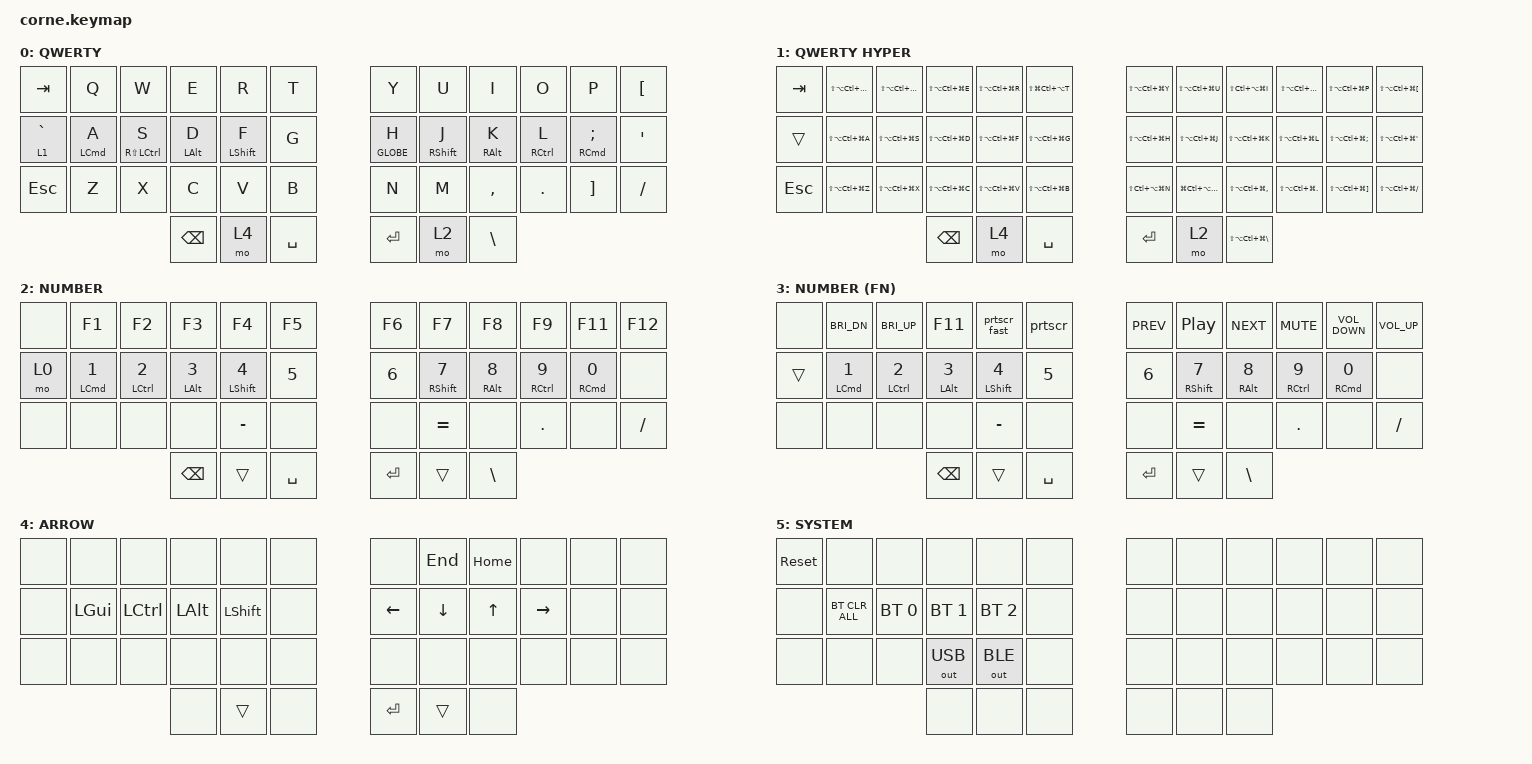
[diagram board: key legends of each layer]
/*
 * Copyright (c) 2020 The ZMK Contributors
 *
 * SPDX-License-Identifier: MIT
 */

#include <behaviors.dtsi>
#include <dt-bindings/zmk/bt.h>
#include <dt-bindings/zmk/keys.h>
#include <dt-bindings/zmk/outputs.h>

/ {
    behaviors {
        hml: homerow_mods_left {
            compatible = "zmk,behavior-hold-tap";
            label = "HOMEROW_MODS_LEFT_HALF";
            bindings = <&kp>, <&kp>;

            #binding-cells = <2>;
            tapping-term-ms = <175>;
            flavor = "balanced";
            hold-trigger-key-positions = <41 30 31 32 33 34 35 23 11 10 22 21 9 6 7 18 19 19 20 8>;
        };

        hmr: homerow7-mods_right {
            compatible = "zmk,behavior-hold-tap";
            label = "HOMEROW_MODS_RIGHT_HALF";
            bindings = <&kp>, <&kp>;

            #binding-cells = <2>;
            tapping-term-ms = <175>;
            hold-trigger-key-positions = <0 1 2 4 5 12 13 14 15 16 17 24 25 26 27 28 29 3>;
            flavor = "balanced";
        };

        hyper_beh: hyper_beh {
            compatible = "zmk,behavior-hold-tap";
            label = "HYPER_BEH";
            bindings = <&mo>, <&kp>;

            #binding-cells = <2>;
            tapping-term-ms = <175>;
            flavor = "balanced";
            hold-trigger-key-positions = <0 1 2 3 4 5 6 7 8 9 10 11 13 14 15 16 17 18 19 20 21 22 23 24 25 26 27 28 29 30 31 32 33 34 35 36 38 39 41>;
        };
    };

    combos {
        compatible = "zmk,combos";

        sys_combo {
            bindings = <&mo 5>;
            key-positions = <40 37>;
        };

        zoom_in {
            bindings = <&kp LS(LG(EQUAL))>;
            key-positions = <13 16 40 31>;
        };

        zoom_out {
            bindings = <&kp LS(LG(MINUS))>;
            key-positions = <40 28 22>;
        };

        next_space {
            bindings = <&kp LC(RIGHT_ARROW)>;
            key-positions = <37 14 21>;
        };

        prev_space {
            bindings = <&kp LC(LEFT_ARROW)>;
            key-positions = <37 14 18>;
        };
    };

    macros {
        prtscr: prtscr {
            compatible = "zmk,behavior-macro";
            #binding-cells = <0>;
            bindings = <&kp LS(LG(NUMBER_4))>;
            label = "PRTSCR";
        };

        prtscr_fast: prtscr_fast {
            compatible = "zmk,behavior-macro";
            #binding-cells = <0>;
            bindings = <&kp LS(LG(NUMBER_3))>;
            label = "PRTSCR_FAST";
        };
    };

    keymap {
        compatible = "zmk,keymap";

        default_layer {
            // -----------------------------------------------------------------------------------------
            // |  TAB |  Q  |  W  |  E  |  R  |  T  |   |  Y  |  U   |  I  |  O  |  P  | BSPC |
            // | CTRL |  A  |  S  |  D  |  F  |  G  |   |  H  |  J   |  K  |  L  |  ;  |  '   |
            // | SHFT |  Z  |  X  |  C  |  V  |  B  |   |  N  |  M   |  ,  |  .  |  /  | ESC  |
            //                    | GUI | LWR | SPC |   | ENT | RSE  | ALT |

            bindings = <
&kp TAB             &kp Q                &kp W                    &kp E          &kp R              &kp T        &kp Y         &kp U               &kp I             &kp O                 &kp P                    &kp LEFT_BRACKET
&hyper_beh 1 GRAVE  &hml LEFT_COMMAND A  &hml RS(LEFT_CONTROL) S  &hml LALT D    &hml LEFT_SHIFT F  &kp G        &hmr GLOBE H  &hmr RIGHT_SHIFT J  &hmr RIGHT_ALT K  &hmr RIGHT_CONTROL L  &hmr RIGHT_COMMAND SEMI  &kp SQT
&kp ESCAPE          &kp Z                &kp X                    &kp C          &kp V              &kp B        &kp N         &kp M               &kp COMMA         &kp DOT               &kp RIGHT_BRACKET        &kp SLASH
                                                                  &kp BACKSPACE  &mo 4              &kp SPACE    &kp RET       &mo 2               &kp BACKSLASH
            >;

            label = "QWERTY";
        };

        hyper_layer {
            bindings = <
&kp TAB     &kp LS(LA(LC(LG(Q))))  &kp LS(LA(LC(LG(W))))  &kp LS(LA(LC(LG(E))))  &kp LS(LA(LC(LG(R))))  &kp LS(LG(LC(LA(T))))    &kp LS(LA(LC(LG(Y))))  &kp LS(LA(LC(LG(U))))  &kp LS(LC(LA(LG(I))))          &kp LS(LA(LC(LG(O))))    &kp LS(LA(LC(LG(P))))              &kp LS(LA(LC(LG(LEFT_BRACKET))))
&trans      &kp LS(LA(LC(LG(A))))  &kp LS(LA(LC(LG(S))))  &kp LS(LA(LC(LG(D))))  &kp LS(LA(LC(LG(F))))  &kp LS(LA(LC(LG(G))))    &kp LS(LA(LC(LG(H))))  &kp LS(LA(LC(LG(J))))  &kp LS(LA(LC(LG(K))))          &kp LS(LA(LC(LG(L))))    &kp LS(LA(LC(LG(SEMICOLON))))      &kp LS(LA(LC(LG(SQT))))
&kp ESCAPE  &kp LS(LA(LC(LG(Z))))  &kp LS(LA(LC(LG(X))))  &kp LS(LA(LC(LG(C))))  &kp LS(LA(LC(LG(V))))  &kp LS(LA(LC(LG(B))))    &kp LS(LC(LA(LG(N))))  &kp LG(LC(LA(LS(M))))  &kp LS(LA(LC(LG(COMMA))))      &kp LS(LA(LC(LG(DOT))))  &kp LS(LA(LC(LG(RIGHT_BRACKET))))  &kp LS(LA(LC(LG(SLASH))))
                                                          &kp BACKSPACE          &mo 4                  &kp SPACE                &kp RET                &mo 2                  &kp LS(LA(LC(LG(BACKSLASH))))
            >;

            label = "QWERTY HYPER";
        };

        number_layer {
            bindings = <
&none  &kp F1                      &kp F2                      &kp F3                  &kp F4                    &kp F5       &kp F6   &kp F7                     &kp F8                   &kp F9                       &kp F11                      &kp F12
&mo 0  &hml LEFT_COMMAND NUMBER_1  &hml LEFT_CONTROL NUMBER_2  &hml LEFT_ALT NUMBER_3  &hml LEFT_SHIFT NUMBER_4  &kp N5       &kp N6   &hmr RIGHT_SHIFT NUMBER_7  &hmr RIGHT_ALT NUMBER_8  &hmr RIGHT_CONTROL NUMBER_9  &hmr RIGHT_COMMAND NUMBER_0  &none
&none  &none                       &none                       &none                   &kp MINUS                 &none        &none    &kp EQUAL                  &none                    &kp DOT                      &none                        &kp FSLH
                                                               &kp BSPC                &trans                    &kp SPACE    &kp RET  &trans                     &kp BSLH
            >;

            label = "NUMBER";
        };

        number_fn_layer {
            bindings = <
&none   &kp C_BRI_DN                &kp C_BRI_UP                &kp F11                 &prtscr_fast              &prtscr      &kp C_PREV  &kp C_PP                   &kp C_NEXT               &kp C_MUTE                   &kp C_VOLUME_DOWN            &kp C_VOLUME_UP
&trans  &hml LEFT_COMMAND NUMBER_1  &hml LEFT_CONTROL NUMBER_2  &hml LEFT_ALT NUMBER_3  &hml LEFT_SHIFT NUMBER_4  &kp N5       &kp N6      &hmr RIGHT_SHIFT NUMBER_7  &hmr RIGHT_ALT NUMBER_8  &hmr RIGHT_CONTROL NUMBER_9  &hmr RIGHT_COMMAND NUMBER_0  &none
&none   &none                       &none                       &none                   &kp MINUS                 &none        &none       &kp EQUAL                  &none                    &kp DOT                      &none                        &kp FSLH
                                                                &kp BSPC                &trans                    &kp SPACE    &kp RET     &trans                     &kp BSLH
            >;

            label = "NUMBER (FN)";
        };

        arrow_layer {
            bindings = <
&none  &none     &none      &none     &none      &none    &none     &kp END   &kp HOME  &none      &none  &none
&none  &kp LGUI  &kp LCTRL  &kp LALT  &kp LSHFT  &none    &kp LEFT  &kp DOWN  &kp UP    &kp RIGHT  &none  &none
&none  &none     &none      &none     &none      &none    &none     &none     &none     &none      &none  &none
                            &none     &trans     &none    &kp RET   &trans    &none
            >;

            label = "ARROW";
        };

        sys_layer {
            bindings = <
&sys_reset  &none           &none         &none         &none         &none    &none  &none  &none  &none  &none  &none
&none       &bt BT_CLR_ALL  &bt BT_SEL 0  &bt BT_SEL 1  &bt BT_SEL 2  &none    &none  &none  &none  &none  &none  &none
&none       &none           &none         &out OUT_USB  &out OUT_BLE  &none    &none  &none  &none  &none  &none  &none
                                          &none         &none         &none    &none  &none  &none
            >;

            label = "SYSTEM";
        };
    };
};
